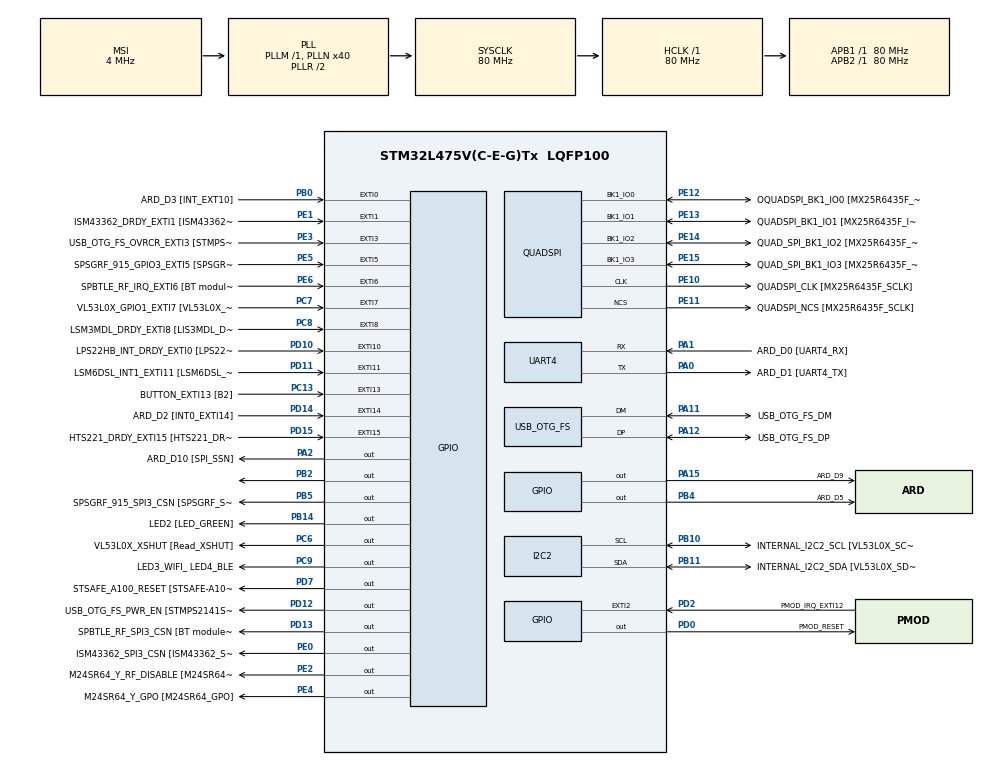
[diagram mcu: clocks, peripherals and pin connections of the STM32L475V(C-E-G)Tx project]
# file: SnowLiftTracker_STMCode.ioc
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FREERTOS.Tasks01=defaultTask,24,128,StartDefaultTask,Default,NULL,Dynamic,NULL,NULL
FREERTOS.configTOTAL_HEAP_SIZE=7000
Mcu.Family=STM32L4
Mcu.Name=STM32L475V(C-E-G)Tx
Mcu.Package=LQFP100
NVIC.EXTI15_10_IRQn=true\:5\:0\:false\:false\:true\:true\:true\:true\:true
NVIC.EXTI9_5_IRQn=true\:5\:0\:false\:false\:true\:true\:true\:true\:true
NVIC.PriorityGroup=NVIC_PRIORITYGROUP_4
PA0.GPIO_Label=ARD_D1 [UART4_TX]
PA0.Mode=Asynchronous
PA0.Signal=UART4_TX
PA1.GPIO_Label=ARD_D0 [UART4_RX]
PA1.Mode=Asynchronous
PA1.Signal=UART4_RX
PA10.GPIO_Label=USB_OTG_FS_ID
PA10.Signal=USB_OTG_FS_ID
PA11.GPIO_Label=USB_OTG_FS_DM
PA11.Mode=Device_Only
PA11.Signal=USB_OTG_FS_DM
PA12.GPIO_Label=USB_OTG_FS_DP
PA12.Mode=Device_Only
PA12.Signal=USB_OTG_FS_DP
PA13\ (JTMS-SWDIO).GPIO_Label=SYS_JTMS_SWDIO
PA13\ (JTMS-SWDIO).Mode=Serial_Wire
PA13\ (JTMS-SWDIO).Signal=SYS_JTMS-SWDIO
PA14\ (JTCK-SWCLK).GPIO_Label=SYS_JTCK_SWCLK
PA14\ (JTCK-SWCLK).Mode=Serial_Wire
PA14\ (JTCK-SWCLK).Signal=SYS_JTCK-SWCLK
PA15\ (JTDI).GPIO_Label=ARD_D9
PA15\ (JTDI).Signal=GPIO_Output
PA2.GPIO_Label=ARD_D10 [SPI_SSN]
PA2.Signal=GPIO_Output
PA3.GPIO_Label=ARD_D4
PA3.Signal=S_TIM2_CH4
PA4.GPIO_Label=ARD_D7
PA4.Signal=ADCx_IN9
PA5.GPIO_Label=ARD_D13 [SPI1_SCK]
PA5.Signal=SPI1_SCK
PA6.Signal=S_TIM3_CH1
PB0.GPIO_Label=ARD_D3 [INT_EXT10]
PB0.Signal=GPXTI0
PB1.GPIO_Label=ARD_D6 [ADC1_IN6]
PB1.Signal=ADCx_IN16
PB10.GPIO_Label=INTERNAL_I2C2_SCL [VL53L0X_SCL]
PB10.GPIO_Pu=GPIO_PULLUP
PB10.Mode=I2C
PB10.Signal=I2C2_SCL
PB11.GPIO_Label=INTERNAL_I2C2_SDA [VL53L0X_SDA]
PB11.GPIO_Pu=GPIO_PULLUP
PB11.Mode=I2C
PB11.Signal=I2C2_SDA
PB14.GPIO_Label=LED2 [LED_GREEN]
PB14.Signal=GPIO_Output
PB2.Signal=GPIO_Output
PB3\ (JTDO-TRACESWO).GPIO_Label=SYS_JTD0_SWO
PB3\ (JTDO-TRACESWO).Signal=SYS_JTDO-SWO
PB4\ (NJTRST).GPIO_Label=ARD_D5
PB4\ (NJTRST).Signal=GPIO_Output
PB5.GPIO_Label=SPSGRF_915_SPI3_CSN [SPSGRF_SPI_CS]
PB5.PinState=GPIO_PIN_SET
PB5.Signal=GPIO_Output
PB6.GPIO_Label=ST_LINK_UART1_TX
PB6.Signal=USART1_TX
PB7.GPIO_Label=ST_LINK_UART1_RX
PB7.Signal=USART1_RX
PC0.GPIO_Label=ARD_A5 [ADC]
PC0.Signal=ADCx_IN1
PC1.GPIO_Label=ARD_A4 [ADC]
PC1.Signal=ADCx_IN2
PC10.GPIO_Label=INTERNAL_SPI3_SCK [BT module_SPI_SCLK] [ISM43362_SCK]
PC10.Signal=SPI3_SCK
PC11.GPIO_Label=INTERNAL_SPI3_MISO [BT module_SPI_MISO] [ISM43362_MISO]
PC11.Signal=SPI3_MISO
PC12.GPIO_Label=INTERNAL_SPI3_MOSI [BT module_SPI_MOSI] [ISM43362_MOSI]
PC12.Signal=SPI3_MOSI
PC13.GPIO_Label=BUTTON_EXTI13 [B2]
PC13.GPIO_ModeDefaultEXTI=GPIO_MODE_IT_FALLING
PC13.Signal=GPXTI13
PC14-OSC32_IN\ (PC14).Mode=LSE-External-Oscillator
PC14-OSC32_IN\ (PC14).Signal=RCC_OSC32_IN
PC15-OSC32_OUT\ (PC15).Mode=LSE-External-Oscillator
PC15-OSC32_OUT\ (PC15).Signal=RCC_OSC32_OUT
PC2.GPIO_Label=ARD_A3 [ADC]
PC2.Signal=ADCx_IN3
PC3.GPIO_Label=ARD_A2 [ADC]
PC3.Signal=ADCx_IN4
PC4.GPIO_Label=ARD_A1 [ADC]
PC4.Signal=ADCx_IN13
PC5.GPIO_Label=ARD_A0 [ADC]
PC5.Signal=ADCx_IN14
PC6.GPIO_Label=VL53L0X_XSHUT [Read_XSHUT]
PC6.Signal=GPIO_Output
PC7.GPIO_Label=VL53L0X_GPIO1_EXTI7 [VL53L0X_GPIO1]
PC7.Signal=GPXTI7
PC8.GPIO_Label=LSM3MDL_DRDY_EXTI8 [LIS3MDL_DRDY]
PC8.Signal=GPXTI8
PC9.GPIO_Label=LED3_WIFI_ LED4_BLE
PC9.Signal=GPIO_Output
PD0.GPIO_Label=PMOD_RESET
PD0.Signal=GPIO_Output
PD1.GPIO_Label=PMOD_SPI2_SCK
PD1.Signal=SPI2_SCK
PD10.GPIO_Label=LPS22HB_INT_DRDY_EXTI0 [LPS22HB_INT_DRDY] 
PD10.Signal=GPXTI10
PD11.GPIO_Label=LSM6DSL_INT1_EXTI11 [LSM6DSL_INT1]
PD11.Signal=GPXTI11
PD12.GPIO_Label=USB_OTG_FS_PWR_EN [STMPS2141STR_EN]
PD12.Signal=GPIO_Output
PD13.GPIO_Label=SPBTLE_RF_SPI3_CSN [BT module_SPI_CS]
PD13.PinState=GPIO_PIN_SET
PD13.Signal=GPIO_Output
PD14.GPIO_Label=ARD_D2 [INT0_EXTI14]
PD14.Signal=GPXTI14
PD15.GPIO_Label=HTS221_DRDY_EXTI15 [HTS221_DRDY]
PD15.Signal=GPXTI15
PD2.GPIO_Label=PMOD_IRQ_EXTI12
PD2.Signal=GPXTI2
PD7.GPIO_Label=STSAFE_A100_RESET [STSAFE-A100_RESET]
PD7.Signal=GPIO_Output
PE0.GPIO_Label=ISM43362_SPI3_CSN [ISM43362_SSN]
PE0.PinState=GPIO_PIN_SET
PE0.Signal=GPIO_Output
PE1.GPIO_Label=ISM43362_DRDY_EXTI1 [ISM43362_DATARDY]
PE1.Signal=GPXTI1
PE10.GPIO_Label=QUADSPI_CLK [MX25R6435F_SCLK]
PE10.Mode=Single Bank
PE10.Signal=QUADSPI_CLK
PE11.GPIO_Label=QUADSPI_NCS [MX25R6435F_SCLK]
PE11.Mode=Single Bank
PE11.Signal=QUADSPI_NCS
PE12.GPIO_Label=OQUADSPI_BK1_IO0 [MX25R6435F_IO0]
PE12.Mode=Single Bank
PE12.Signal=QUADSPI_BK1_IO0
PE13.GPIO_Label=QUADSPI_BK1_IO1 [MX25R6435F_IO1]
PE13.Mode=Single Bank
PE13.Signal=QUADSPI_BK1_IO1
PE14.GPIO_Label=QUAD_SPI_BK1_IO2 [MX25R6435F_IO2]
PE14.Mode=Single Bank
PE14.Signal=QUADSPI_BK1_IO2
PE15.GPIO_Label=QUAD_SPI_BK1_IO3 [MX25R6435F_IO3]
PE15.Mode=Single Bank
PE15.Signal=QUADSPI_BK1_IO3
PE2.GPIO_Label=M24SR64_Y_RF_DISABLE [M24SR64_RFDIS]
PE2.Signal=GPIO_Output
PE3.GPIO_Label=USB_OTG_FS_OVRCR_EXTI3 [STMPS2141STR_FAULT]
PE3.Signal=GPXTI3
PE4.GPIO_Label=M24SR64_Y_GPO [M24SR64_GPO]
PE4.Signal=GPIO_Output
PE5.GPIO_Label=SPSGRF_915_GPIO3_EXTI5 [SPSGRF_GPIO_3]
PE5.Signal=GPXTI5
PE6.GPIO_Label=SPBTLE_RF_IRQ_EXTI6 [BT module_SPI_IRQ]
PE6.Signal=GPXTI6
PE7.GPIO_Label=DFSDM1_DATIN2 [MP34DT01_DOUT]
PE7.Signal=S_DATAIN2DFSDM1
PE9.GPIO_Label=DFSDM1_CKOUT [MP34DT01_CLK]
PE9.Signal=S_CKOUTDFSDM1
ProjectManager.HeapSize=0x200
ProjectManager.StackSize=0x400
ProjectManager.TargetToolchain=STM32CubeIDE
RCC.ADCFreq_Value=48000000
RCC.AHBFreq_Value=80000000
RCC.APB1Freq_Value=80000000
RCC.APB1TimFreq_Value=80000000
RCC.APB2Freq_Value=80000000
RCC.APB2TimFreq_Value=80000000
RCC.CortexFreq_Value=80000000
RCC.HCLKFreq_Value=80000000
RCC.HSE_VALUE=8000000
RCC.HSI_VALUE=16000000
RCC.MSI_VALUE=4000000
RCC.PLLN=40
RCC.PLLSAI1N=24
RCC.SYSCLKFreq_VALUE=80000000
RCC.SYSCLKSource=RCC_SYSCLKSOURCE_PLLCLK
RCC.USBFreq_Value=48000000
RCC.VCOOutputFreq_Value=160000000
SH.ADCx_IN1.0=ADC1_IN1
SH.ADCx_IN13.0=ADC1_IN13
SH.ADCx_IN14.0=ADC1_IN14
SH.ADCx_IN16.0=ADC1_IN16
SH.ADCx_IN2.0=ADC1_IN2
SH.ADCx_IN3.0=ADC1_IN3
SH.ADCx_IN4.0=ADC1_IN4
SH.ADCx_IN9.0=ADC1_IN9
SH.S_CKOUTDFSDM1.0=DFSDM1_CKOUT
SH.S_DATAIN2DFSDM1.0=DFSDM1_DATIN2
SH.S_TIM2_CH4.0=TIM2_CH4
SH.S_TIM3_CH1.0=TIM3_CH1
USB_OTG_FS.VirtualMode=Device_Only
VP_FREERTOS_VS_CMSIS_V2.Mode=CMSIS_V2
board=B-L475E-IOT01A2

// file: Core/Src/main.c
/* USER CODE BEGIN Header */
/**
 ******************************************************************************
 * @file           : main.c
 * @brief          : Main program body
 ******************************************************************************
 * @attention
 *
 * Copyright (c) 2023 STMicroelectronics.
 * All rights reserved.
 *
 * This software is licensed under terms that can be found in the LICENSE file
 * in the root directory of this software component.
 * If no LICENSE file comes with this software, it is provided AS-IS.
 *
 ******************************************************************************
 */
/* USER CODE END Header */
#include "main.h"
#include "cmsis_os.h"

/* USER CODE BEGIN Includes */
#include <stdbool.h>
#include "APP_LED.h"
#include "APP_Temperature.h"
#include "APP_Humidity.h"
#include "APP_Pressure.h"
#include "APP_UART.h"
#include "APP_Presence.h"
/* USER CODE END Includes */

I2C_HandleTypeDef hi2c2;

QSPI_HandleTypeDef hqspi;

UART_HandleTypeDef huart4;

PCD_HandleTypeDef hpcd_USB_OTG_FS;

/* Definitions for defaultTask */
osThreadId_t defaultTaskHandle;
const osThreadAttr_t defaultTask_attributes = {
  .name = "defaultTask",
  .stack_size = 128 * 4,
  .priority = (osPriority_t) osPriorityNormal,
};
/* USER CODE BEGIN PV */

osMessageQueueId_t g_queue_id;
const osMessageQueueAttr_t g_queue_attributes = { .name = "UartQueue", };

/* USER CODE END PV */

void SystemClock_Config(void);
static void MX_GPIO_Init(void);
static void MX_I2C2_Init(void);
static void MX_USB_OTG_FS_PCD_Init(void);
static void MX_UART4_Init(void);
static void MX_QUADSPI_Init(void);
void StartDefaultTask(void *argument);

int main(void)
{
  /* USER CODE BEGIN 1 */
	bool l_init_error = false;
  /* USER CODE END 1 */

  /* MCU Configuration--------------------------------------------------------*/

  /* Reset of all peripherals, Initializes the Flash interface and the Systick. */
  HAL_Init();

  /* Configure the system clock */
  SystemClock_Config();

  /* Initialize all configured peripherals */
  MX_GPIO_Init();
  MX_I2C2_Init();
  MX_USB_OTG_FS_PCD_Init();
  MX_UART4_Init();
  MX_QUADSPI_Init();

  /* Init scheduler */
  osKernelInitialize();

  /* USER CODE BEGIN RTOS_QUEUES */
	/* add queues, ... */
	g_queue_id = osMessageQueueNew(APP_UART_MAX_SIZE_QUEUE,
			sizeof(app_uart_struct_sensor_t), &g_queue_attributes);
  /* USER CODE END RTOS_QUEUES */

  /* Create the thread(s) */
  /* creation of defaultTask */
  defaultTaskHandle = osThreadNew(StartDefaultTask, NULL, &defaultTask_attributes);

  /* USER CODE BEGIN RTOS_THREADS */
	/* add threads, ... */

	app_led_start_task();

	if (0 != app_temperature_init(g_queue_id)) {
		l_init_error = true;
	}
	if (0 != app_humidity_init(g_queue_id)) {
		l_init_error = true;
	}
	if (0 != app_pressure_init(g_queue_id)) {
		l_init_error = true;
	}
	app_presence_init(g_queue_id);
	app_uart_init(&huart4, g_queue_id);
	if (!l_init_error) {
		app_led_start_task();
		app_humidity_task_start();
		app_temperature_task_start();
		app_pressure_task_start();
		app_presence_task_start();
		app_uart_start_task();

	}
  /* USER CODE END RTOS_THREADS */

  /* Start scheduler */
  osKernelStart();

  /* We should never get here as control is now taken by the scheduler */
  /* Infinite loop */
	while (1) {

    /* USER CODE BEGIN 3 */
		HAL_Delay(250);
	}
  /* USER CODE END 3 */
}

void SystemClock_Config(void)
{
  RCC_OscInitTypeDef RCC_OscInitStruct = {0};
  RCC_ClkInitTypeDef RCC_ClkInitStruct = {0};

  /** Configure the main internal regulator output voltage
  */
  if (HAL_PWREx_ControlVoltageScaling(PWR_REGULATOR_VOLTAGE_SCALE1) != HAL_OK)
  {
    Error_Handler();
  }

  /** Configure LSE Drive Capability
  */
  HAL_PWR_EnableBkUpAccess();
  __HAL_RCC_LSEDRIVE_CONFIG(RCC_LSEDRIVE_LOW);

  /** Initializes the RCC Oscillators according to the specified parameters
  * in the RCC_OscInitTypeDef structure.
  */
  RCC_OscInitStruct.OscillatorType = RCC_OSCILLATORTYPE_LSE|RCC_OSCILLATORTYPE_MSI;
  RCC_OscInitStruct.LSEState = RCC_LSE_ON;
  RCC_OscInitStruct.MSIState = RCC_MSI_ON;
  RCC_OscInitStruct.MSICalibrationValue = 0;
  RCC_OscInitStruct.MSIClockRange = RCC_MSIRANGE_6;
  RCC_OscInitStruct.PLL.PLLState = RCC_PLL_ON;
  RCC_OscInitStruct.PLL.PLLSource = RCC_PLLSOURCE_MSI;
  RCC_OscInitStruct.PLL.PLLM = 1;
  RCC_OscInitStruct.PLL.PLLN = 40;
  RCC_OscInitStruct.PLL.PLLP = RCC_PLLP_DIV7;
  RCC_OscInitStruct.PLL.PLLQ = RCC_PLLQ_DIV2;
  RCC_OscInitStruct.PLL.PLLR = RCC_PLLR_DIV2;
  if (HAL_RCC_OscConfig(&RCC_OscInitStruct) != HAL_OK)
  {
    Error_Handler();
  }

  /** Initializes the CPU, AHB and APB buses clocks
  */
  RCC_ClkInitStruct.ClockType = RCC_CLOCKTYPE_HCLK|RCC_CLOCKTYPE_SYSCLK
                              |RCC_CLOCKTYPE_PCLK1|RCC_CLOCKTYPE_PCLK2;
  RCC_ClkInitStruct.SYSCLKSource = RCC_SYSCLKSOURCE_PLLCLK;
  RCC_ClkInitStruct.AHBCLKDivider = RCC_SYSCLK_DIV1;
  RCC_ClkInitStruct.APB1CLKDivider = RCC_HCLK_DIV1;
  RCC_ClkInitStruct.APB2CLKDivider = RCC_HCLK_DIV1;

  if (HAL_RCC_ClockConfig(&RCC_ClkInitStruct, FLASH_LATENCY_4) != HAL_OK)
  {
    Error_Handler();
  }

  /** Enable MSI Auto calibration
  */
  HAL_RCCEx_EnableMSIPLLMode();
}

static void MX_I2C2_Init(void)
{

  hi2c2.Instance = I2C2;
  hi2c2.Init.Timing = 0x00000E14;
  hi2c2.Init.OwnAddress1 = 0;
  hi2c2.Init.AddressingMode = I2C_ADDRESSINGMODE_7BIT;
  hi2c2.Init.DualAddressMode = I2C_DUALADDRESS_DISABLE;
  hi2c2.Init.OwnAddress2 = 0;
  hi2c2.Init.OwnAddress2Masks = I2C_OA2_NOMASK;
  hi2c2.Init.GeneralCallMode = I2C_GENERALCALL_DISABLE;
  hi2c2.Init.NoStretchMode = I2C_NOSTRETCH_DISABLE;
  if (HAL_I2C_Init(&hi2c2) != HAL_OK)
  {
    Error_Handler();
  }

  /** Configure Analogue filter
  */
  if (HAL_I2CEx_ConfigAnalogFilter(&hi2c2, I2C_ANALOGFILTER_ENABLE) != HAL_OK)
  {
    Error_Handler();
  }

  /** Configure Digital filter
  */
  if (HAL_I2CEx_ConfigDigitalFilter(&hi2c2, 0) != HAL_OK)
  {
    Error_Handler();
  }

}

static void MX_QUADSPI_Init(void)
{

  /* QUADSPI parameter configuration*/
  hqspi.Instance = QUADSPI;
  hqspi.Init.ClockPrescaler = 255;
  hqspi.Init.FifoThreshold = 1;
  hqspi.Init.SampleShifting = QSPI_SAMPLE_SHIFTING_NONE;
  hqspi.Init.FlashSize = 1;
  hqspi.Init.ChipSelectHighTime = QSPI_CS_HIGH_TIME_1_CYCLE;
  hqspi.Init.ClockMode = QSPI_CLOCK_MODE_0;
  if (HAL_QSPI_Init(&hqspi) != HAL_OK)
  {
    Error_Handler();
  }

}

static void MX_UART4_Init(void)
{

  huart4.Instance = UART4;
  huart4.Init.BaudRate = 115200;
  huart4.Init.WordLength = UART_WORDLENGTH_8B;
  huart4.Init.StopBits = UART_STOPBITS_1;
  huart4.Init.Parity = UART_PARITY_NONE;
  huart4.Init.Mode = UART_MODE_TX_RX;
  huart4.Init.HwFlowCtl = UART_HWCONTROL_NONE;
  huart4.Init.OverSampling = UART_OVERSAMPLING_16;
  huart4.Init.OneBitSampling = UART_ONE_BIT_SAMPLE_DISABLE;
  huart4.AdvancedInit.AdvFeatureInit = UART_ADVFEATURE_NO_INIT;
  if (HAL_UART_Init(&huart4) != HAL_OK)
  {
    Error_Handler();
  }

}

static void MX_USB_OTG_FS_PCD_Init(void)
{

  hpcd_USB_OTG_FS.Instance = USB_OTG_FS;
  hpcd_USB_OTG_FS.Init.dev_endpoints = 6;
  hpcd_USB_OTG_FS.Init.speed = PCD_SPEED_FULL;
  hpcd_USB_OTG_FS.Init.phy_itface = PCD_PHY_EMBEDDED;
  hpcd_USB_OTG_FS.Init.Sof_enable = DISABLE;
  hpcd_USB_OTG_FS.Init.low_power_enable = DISABLE;
  hpcd_USB_OTG_FS.Init.lpm_enable = DISABLE;
  hpcd_USB_OTG_FS.Init.battery_charging_enable = DISABLE;
  hpcd_USB_OTG_FS.Init.use_dedicated_ep1 = DISABLE;
  hpcd_USB_OTG_FS.Init.vbus_sensing_enable = DISABLE;
  if (HAL_PCD_Init(&hpcd_USB_OTG_FS) != HAL_OK)
  {
    Error_Handler();
  }

}

static void MX_GPIO_Init(void)
{
  GPIO_InitTypeDef GPIO_InitStruct = {0};

  /* GPIO Ports Clock Enable */
  __HAL_RCC_GPIOE_CLK_ENABLE();
  __HAL_RCC_GPIOC_CLK_ENABLE();
  __HAL_RCC_GPIOA_CLK_ENABLE();
  __HAL_RCC_GPIOB_CLK_ENABLE();
  __HAL_RCC_GPIOD_CLK_ENABLE();

  /*Configure GPIO pin Output Level */
  HAL_GPIO_WritePin(GPIOE, M24SR64_Y_RF_DISABLE_Pin|M24SR64_Y_GPO_Pin, GPIO_PIN_RESET);

  /*Configure GPIO pin Output Level */
  HAL_GPIO_WritePin(GPIOA, ARD_D10_Pin|ARD_D9_Pin, GPIO_PIN_RESET);

  /*Configure GPIO pin Output Level */
  HAL_GPIO_WritePin(GPIOB, GPIO_PIN_2|LED2_Pin|ARD_D5_Pin, GPIO_PIN_RESET);

  /*Configure GPIO pin Output Level */
  HAL_GPIO_WritePin(GPIOD, USB_OTG_FS_PWR_EN_Pin|PMOD_RESET_Pin|STSAFE_A100_RESET_Pin, GPIO_PIN_RESET);

  /*Configure GPIO pin Output Level */
  HAL_GPIO_WritePin(SPBTLE_RF_SPI3_CSN_GPIO_Port, SPBTLE_RF_SPI3_CSN_Pin, GPIO_PIN_SET);

  /*Configure GPIO pin Output Level */
  HAL_GPIO_WritePin(GPIOC, VL53L0X_XSHUT_Pin|LED3_WIFI__LED4_BLE_Pin, GPIO_PIN_RESET);

  /*Configure GPIO pin Output Level */
  HAL_GPIO_WritePin(SPSGRF_915_SPI3_CSN_GPIO_Port, SPSGRF_915_SPI3_CSN_Pin, GPIO_PIN_SET);

  /*Configure GPIO pin Output Level */
  HAL_GPIO_WritePin(ISM43362_SPI3_CSN_GPIO_Port, ISM43362_SPI3_CSN_Pin, GPIO_PIN_SET);

  /*Configure GPIO pins : M24SR64_Y_RF_DISABLE_Pin M24SR64_Y_GPO_Pin ISM43362_SPI3_CSN_Pin */
  GPIO_InitStruct.Pin = M24SR64_Y_RF_DISABLE_Pin|M24SR64_Y_GPO_Pin|ISM43362_SPI3_CSN_Pin;
  GPIO_InitStruct.Mode = GPIO_MODE_OUTPUT_PP;
  GPIO_InitStruct.Pull = GPIO_NOPULL;
  GPIO_InitStruct.Speed = GPIO_SPEED_FREQ_LOW;
  HAL_GPIO_Init(GPIOE, &GPIO_InitStruct);

  /*Configure GPIO pins : USB_OTG_FS_OVRCR_EXTI3_Pin SPSGRF_915_GPIO3_EXTI5_Pin SPBTLE_RF_IRQ_EXTI6_Pin ISM43362_DRDY_EXTI1_Pin */
  GPIO_InitStruct.Pin = USB_OTG_FS_OVRCR_EXTI3_Pin|SPSGRF_915_GPIO3_EXTI5_Pin|SPBTLE_RF_IRQ_EXTI6_Pin|ISM43362_DRDY_EXTI1_Pin;
  GPIO_InitStruct.Mode = GPIO_MODE_IT_RISING;
  GPIO_InitStruct.Pull = GPIO_NOPULL;
  HAL_GPIO_Init(GPIOE, &GPIO_InitStruct);

  /*Configure GPIO pin : BUTTON_EXTI13_Pin */
  GPIO_InitStruct.Pin = BUTTON_EXTI13_Pin;
  GPIO_InitStruct.Mode = GPIO_MODE_IT_FALLING;
  GPIO_InitStruct.Pull = GPIO_NOPULL;
  HAL_GPIO_Init(BUTTON_EXTI13_GPIO_Port, &GPIO_InitStruct);

  /*Configure GPIO pins : ARD_A5_Pin ARD_A4_Pin ARD_A3_Pin ARD_A2_Pin
                           ARD_A1_Pin ARD_A0_Pin */
  GPIO_InitStruct.Pin = ARD_A5_Pin|ARD_A4_Pin|ARD_A3_Pin|ARD_A2_Pin
                          |ARD_A1_Pin|ARD_A0_Pin;
  GPIO_InitStruct.Mode = GPIO_MODE_ANALOG_ADC_CONTROL;
  GPIO_InitStruct.Pull = GPIO_NOPULL;
  HAL_GPIO_Init(GPIOC, &GPIO_InitStruct);

  /*Configure GPIO pins : ARD_D10_Pin ARD_D9_Pin */
  GPIO_InitStruct.Pin = ARD_D10_Pin|ARD_D9_Pin;
  GPIO_InitStruct.Mode = GPIO_MODE_OUTPUT_PP;
  GPIO_InitStruct.Pull = GPIO_NOPULL;
  GPIO_InitStruct.Speed = GPIO_SPEED_FREQ_LOW;
  HAL_GPIO_Init(GPIOA, &GPIO_InitStruct);

  /*Configure GPIO pin : ARD_D4_Pin */
  GPIO_InitStruct.Pin = ARD_D4_Pin;
  GPIO_InitStruct.Mode = GPIO_MODE_AF_PP;
  GPIO_InitStruct.Pull = GPIO_NOPULL;
  GPIO_InitStruct.Speed = GPIO_SPEED_FREQ_LOW;
  GPIO_InitStruct.Alternate = GPIO_AF1_TIM2;
  HAL_GPIO_Init(ARD_D4_GPIO_Port, &GPIO_InitStruct);

  /*Configure GPIO pin : ARD_D7_Pin */
  GPIO_InitStruct.Pin = ARD_D7_Pin;
  GPIO_InitStruct.Mode = GPIO_MODE_ANALOG_ADC_CONTROL;
  GPIO_InitStruct.Pull = GPIO_NOPULL;
  HAL_GPIO_Init(ARD_D7_GPIO_Port, &GPIO_InitStruct);

  /*Configure GPIO pin : ARD_D13_Pin */
  GPIO_InitStruct.Pin = ARD_D13_Pin;
  GPIO_InitStruct.Mode = GPIO_MODE_AF_PP;
  GPIO_InitStruct.Pull = GPIO_NOPULL;
  GPIO_InitStruct.Speed = GPIO_SPEED_FREQ_VERY_HIGH;
  GPIO_InitStruct.Alternate = GPIO_AF5_SPI1;
  HAL_GPIO_Init(ARD_D13_GPIO_Port, &GPIO_InitStruct);

  /*Configure GPIO pin : PA6 */
  GPIO_InitStruct.Pin = GPIO_PIN_6;
  GPIO_InitStruct.Mode = GPIO_MODE_AF_PP;
  GPIO_InitStruct.Pull = GPIO_NOPULL;
  GPIO_InitStruct.Speed = GPIO_SPEED_FREQ_LOW;
  GPIO_InitStruct.Alternate = GPIO_AF2_TIM3;
  HAL_GPIO_Init(GPIOA, &GPIO_InitStruct);

  /*Configure GPIO pin : ARD_D3_Pin */
  GPIO_InitStruct.Pin = ARD_D3_Pin;
  GPIO_InitStruct.Mode = GPIO_MODE_IT_RISING;
  GPIO_InitStruct.Pull = GPIO_NOPULL;
  HAL_GPIO_Init(ARD_D3_GPIO_Port, &GPIO_InitStruct);

  /*Configure GPIO pin : ARD_D6_Pin */
  GPIO_InitStruct.Pin = ARD_D6_Pin;
  GPIO_InitStruct.Mode = GPIO_MODE_ANALOG_ADC_CONTROL;
  GPIO_InitStruct.Pull = GPIO_NOPULL;
  HAL_GPIO_Init(ARD_D6_GPIO_Port, &GPIO_InitStruct);

  /*Configure GPIO pins : PB2 LED2_Pin ARD_D5_Pin SPSGRF_915_SPI3_CSN_Pin */
  GPIO_InitStruct.Pin = GPIO_PIN_2|LED2_Pin|ARD_D5_Pin|SPSGRF_915_SPI3_CSN_Pin;
  GPIO_InitStruct.Mode = GPIO_MODE_OUTPUT_PP;
  GPIO_InitStruct.Pull = GPIO_NOPULL;
  GPIO_InitStruct.Speed = GPIO_SPEED_FREQ_LOW;
  HAL_GPIO_Init(GPIOB, &GPIO_InitStruct);

  /*Configure GPIO pins : DFSDM1_DATIN2_Pin DFSDM1_CKOUT_Pin */
  GPIO_InitStruct.Pin = DFSDM1_DATIN2_Pin|DFSDM1_CKOUT_Pin;
  GPIO_InitStruct.Mode = GPIO_MODE_AF_PP;
  GPIO_InitStruct.Pull = GPIO_NOPULL;
  GPIO_InitStruct.Speed = GPIO_SPEED_FREQ_LOW;
  GPIO_InitStruct.Alternate = GPIO_AF6_DFSDM1;
  HAL_GPIO_Init(GPIOE, &GPIO_InitStruct);

  /*Configure GPIO pins : LPS22HB_INT_DRDY_EXTI0_Pin LSM6DSL_INT1_EXTI11_Pin ARD_D2_Pin HTS221_DRDY_EXTI15_Pin
                           PMOD_IRQ_EXTI12_Pin */
  GPIO_InitStruct.Pin = LPS22HB_INT_DRDY_EXTI0_Pin|LSM6DSL_INT1_EXTI11_Pin|ARD_D2_Pin|HTS221_DRDY_EXTI15_Pin
                          |PMOD_IRQ_EXTI12_Pin;
  GPIO_InitStruct.Mode = GPIO_MODE_IT_RISING;
  GPIO_InitStruct.Pull = GPIO_NOPULL;
  HAL_GPIO_Init(GPIOD, &GPIO_InitStruct);

  /*Configure GPIO pins : USB_OTG_FS_PWR_EN_Pin SPBTLE_RF_SPI3_CSN_Pin PMOD_RESET_Pin STSAFE_A100_RESET_Pin */
  GPIO_InitStruct.Pin = USB_OTG_FS_PWR_EN_Pin|SPBTLE_RF_SPI3_CSN_Pin|PMOD_RESET_Pin|STSAFE_A100_RESET_Pin;
  GPIO_InitStruct.Mode = GPIO_MODE_OUTPUT_PP;
  GPIO_InitStruct.Pull = GPIO_NOPULL;
  GPIO_InitStruct.Speed = GPIO_SPEED_FREQ_LOW;
  HAL_GPIO_Init(GPIOD, &GPIO_InitStruct);

  /*Configure GPIO pins : VL53L0X_XSHUT_Pin LED3_WIFI__LED4_BLE_Pin */
  GPIO_InitStruct.Pin = VL53L0X_XSHUT_Pin|LED3_WIFI__LED4_BLE_Pin;
  GPIO_InitStruct.Mode = GPIO_MODE_OUTPUT_PP;
  GPIO_InitStruct.Pull = GPIO_NOPULL;
  GPIO_InitStruct.Speed = GPIO_SPEED_FREQ_LOW;
  HAL_GPIO_Init(GPIOC, &GPIO_InitStruct);

  /*Configure GPIO pins : VL53L0X_GPIO1_EXTI7_Pin LSM3MDL_DRDY_EXTI8_Pin */
  GPIO_InitStruct.Pin = VL53L0X_GPIO1_EXTI7_Pin|LSM3MDL_DRDY_EXTI8_Pin;
  GPIO_InitStruct.Mode = GPIO_MODE_IT_RISING;
  GPIO_InitStruct.Pull = GPIO_NOPULL;
  HAL_GPIO_Init(GPIOC, &GPIO_InitStruct);

  /*Configure GPIO pins : INTERNAL_SPI3_SCK_Pin INTERNAL_SPI3_MISO_Pin INTERNAL_SPI3_MOSI_Pin */
  GPIO_InitStruct.Pin = INTERNAL_SPI3_SCK_Pin|INTERNAL_SPI3_MISO_Pin|INTERNAL_SPI3_MOSI_Pin;
  GPIO_InitStruct.Mode = GPIO_MODE_AF_PP;
  GPIO_InitStruct.Pull = GPIO_NOPULL;
  GPIO_InitStruct.Speed = GPIO_SPEED_FREQ_VERY_HIGH;
  GPIO_InitStruct.Alternate = GPIO_AF6_SPI3;
  HAL_GPIO_Init(GPIOC, &GPIO_InitStruct);

  /*Configure GPIO pin : PMOD_SPI2_SCK_Pin */
  GPIO_InitStruct.Pin = PMOD_SPI2_SCK_Pin;
  GPIO_InitStruct.Mode = GPIO_MODE_AF_PP;
  GPIO_InitStruct.Pull = GPIO_NOPULL;
  GPIO_InitStruct.Speed = GPIO_SPEED_FREQ_VERY_HIGH;
  GPIO_InitStruct.Alternate = GPIO_AF5_SPI2;
  HAL_GPIO_Init(PMOD_SPI2_SCK_GPIO_Port, &GPIO_InitStruct);

  /*Configure GPIO pins : ST_LINK_UART1_TX_Pin ST_LINK_UART1_RX_Pin */
  GPIO_InitStruct.Pin = ST_LINK_UART1_TX_Pin|ST_LINK_UART1_RX_Pin;
  GPIO_InitStruct.Mode = GPIO_MODE_AF_PP;
  GPIO_InitStruct.Pull = GPIO_NOPULL;
  GPIO_InitStruct.Speed = GPIO_SPEED_FREQ_VERY_HIGH;
  GPIO_InitStruct.Alternate = GPIO_AF7_USART1;
  HAL_GPIO_Init(GPIOB, &GPIO_InitStruct);

  /* EXTI interrupt init*/
  HAL_NVIC_SetPriority(EXTI9_5_IRQn, 5, 0);
  HAL_NVIC_EnableIRQ(EXTI9_5_IRQn);

  HAL_NVIC_SetPriority(EXTI15_10_IRQn, 5, 0);
  HAL_NVIC_EnableIRQ(EXTI15_10_IRQn);

}

void StartDefaultTask(void *argument)
{
	for (;;) {
		osDelay(1);
	}
}

void Error_Handler(void)
{
	__disable_irq();
	while (1) {
	}
}
